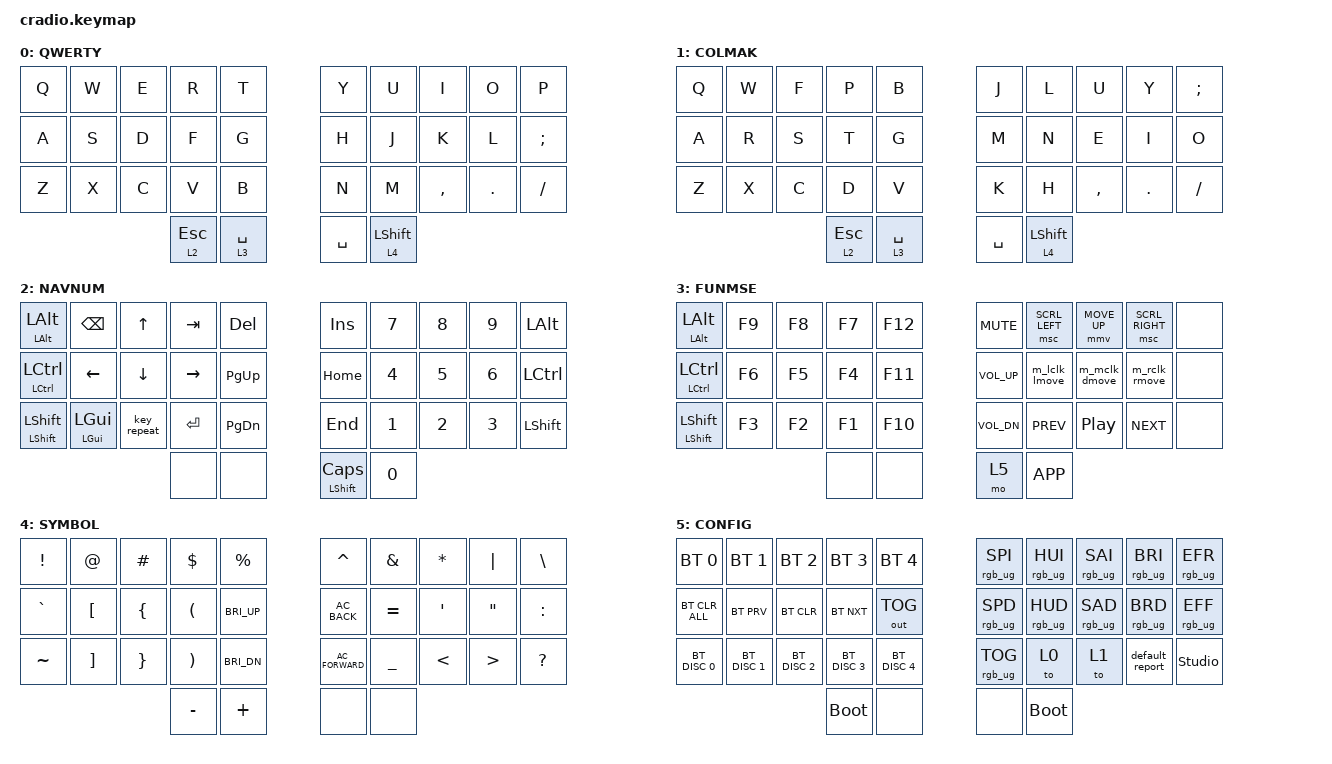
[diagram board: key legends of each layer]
/* spellchecker:disable */
#include <behaviors.dtsi>
#include <dt-bindings/zmk/bt.h>
#include <dt-bindings/zmk/keys.h>
#include <dt-bindings/zmk/outputs.h>
#include <dt-bindings/zmk/mouse.h>
#include <dt-bindings/zmk/rgb.h>

// #define ZMK_MOUSE_DEFAULT_MOVE_VAL 800  // 600
// #define ZMK_MOUSE_DEFAULT_SCRL_VAL 20    // 10

&lt {
    flavor = "hold-preferred";
};

&sk {
    release-after-ms = <4000>;
    quick-release;
    lazy;
};

/ {
    chosen {
        zmk,charmap = &charmap_us;
    };
    behaviors {
        // mmv {
        //     acceleration-exponent = <0>;      // 1
        //     time-to-max-speed-ms = <900>;    // 40
        //     delay-ms = <0>;                   // 0
        // };
        // msc {
        //     acceleration-exponent = <1>;      // 0      
        //     time-to-max-speed-ms = <400>;      // 500
        //     delay-ms = <0>;                   // 10
        // };
        // lclk_rclk: lclk_rclk    { bindings = <&mkp LCLK>, <&mkp RCLK>; compatible = "zmk,behavior-tap-dance"; #binding-cells = <0>; };
        lsk: layer_sticky_key      { compatible = "zmk,behavior-hold-tap";  #binding-cells = <2>; flavor = "hold-preferred"; tapping-term-ms = <200>; bindings = <&mo>, <&sk>; };
        lsl: layer_sticky_layer    { compatible = "zmk,behavior-hold-tap";  #binding-cells = <2>; flavor = "hold-preferred"; tapping-term-ms = <200>; bindings = <&mo>, <&sl>; };
        lmk: layer_mouse_key       { compatible = "zmk,behavior-hold-tap";  #binding-cells = <2>; flavor = "hold-preferred"; tapping-term-ms = <200>; bindings = <&mo>, <&mkp>; };
        lcw: layer_caps_word       { compatible = "zmk,behavior-hold-tap";  #binding-cells = <2>; flavor = "hold-preferred"; tapping-term-ms = <200>; bindings = <&mo>, <&caps_word>; };
        hsk: hold_sticky_key       { compatible = "zmk,behavior-hold-tap";  #binding-cells = <2>; flavor = "hold-preferred"; tapping-term-ms = <200>; bindings = <&kp>, <&sk>; };
        hsl: hold_sticky_layer     { compatible = "zmk,behavior-hold-tap";  #binding-cells = <2>; flavor = "hold-preferred"; tapping-term-ms = <200>; bindings = <&kp>, <&sl>; };
        hmk: hold_mouse_key        { compatible = "zmk,behavior-hold-tap";  #binding-cells = <2>; flavor = "hold-preferred"; tapping-term-ms = <200>; bindings = <&kp>, <&mkp>; };
        hcw: hold_caps_word        { compatible = "zmk,behavior-hold-tap";  #binding-cells = <2>; flavor = "hold-preferred"; tapping-term-ms = <200>; bindings = <&kp>, <&caps_word>; };
        m_lclk_lmove: m_lclk_lmove { compatible = "zmk,behavior-mod-morph"; #binding-cells = <0>; mods = <(MOD_LCTL)>; bindings = <&mkp LCLK>, <&mmv MOVE_LEFT>; };
        m_mclk_dmove: m_mclk_dmove { compatible = "zmk,behavior-mod-morph"; #binding-cells = <0>; mods = <(MOD_LCTL)>; bindings = <&mkp MCLK>, <&mmv MOVE_DOWN>; };
        m_rclk_rmove: m_rclk_rmove { compatible = "zmk,behavior-mod-morph"; #binding-cells = <0>; mods = <(MOD_LCTL)>; bindings = <&mkp RCLK>, <&mmv MOVE_RIGHT>; };
    };
    macros {
        win_sleep: win_sleep { wait-ms = <50>; tap-ms = <5>; compatible = "zmk,behavior-macro"; #binding-cells = <0>; bindings = <&kp LG(X) &kp U &kp S>; };
    };
    keymap {
        compatible = "zmk,keymap";
        layer0 {
            display-name = "QWERTY";
            bindings = <
                 &kp Q            &kp W            &kp E            &kp R            &kp T                                                               &kp Y            &kp U            &kp I            &kp O            &kp P
                 &kp A            &kp S            &kp D            &kp F            &kp G                                                               &kp H            &kp J            &kp K            &kp L            &kp SEMI
                 &kp Z            &kp X            &kp C            &kp V            &kp B                                                               &kp N            &kp M            &kp COMMA        &kp DOT          &kp FSLH
                                                                    &lt 2 ESC        &lt 3 SPACE                                                         &kp SPACE        &lsk 4 LSHFT >;

        };
        layer1 {
            display-name = "COLMAK";
            bindings = <
                 &kp Q            &kp W            &kp F            &kp P            &kp B                                                               &kp J            &kp L            &kp U            &kp Y            &kp SEMI
                 &kp A            &kp R            &kp S            &kp T            &kp G                                                               &kp M            &kp N            &kp E            &kp I            &kp O
                 &kp Z            &kp X            &kp C            &kp D            &kp V                                                               &kp K            &kp H            &kp COMMA        &kp DOT          &kp FSLH
                                                                    &lt 2 ESC        &lt 3 SPACE                                                         &kp SPACE        &lsk 4 LSHFT >;

        };
        layer2 {
            display-name = "NAVNUM";
            bindings = <
                 &hsk LALT LALT   &kp BSPC         &kp UP           &kp TAB          &kp DEL                                                             &kp INS          &kp N7           &kp N8           &kp N9           &kp LALT
                 &hsk LCTRL LCTRL &kp LEFT         &kp DOWN         &kp RIGHT        &kp PG_UP                                                           &kp HOME         &kp N4           &kp N5           &kp N6           &kp LCTRL
                 &hsk LSHFT LSHFT &hsk LGUI LGUI   &key_repeat      &kp ENTER        &kp PG_DN                                                           &kp END          &kp N1           &kp N2           &kp N3           &kp LSHFT
                                                                    &none            &none                                                               &hcw LSHFT CAPS  &kp N0 >;

        };
        layer3 {
            display-name = "FUNMSE";
            bindings = <
                 &hsk LALT LALT   &kp F9           &kp F8           &kp F7           &kp F12                                                             &kp C_MUTE       &msc SCRL_LEFT   &mmv MOVE_UP     &msc SCRL_RIGHT  &none
                 &hsk LCTRL LCTRL &kp F6           &kp F5           &kp F4           &kp F11                                                             &kp C_VOL_UP     &m_lclk_lmove    &m_mclk_dmove    &m_rclk_rmove    &none
                 &hsk LSHFT LSHFT &kp F3           &kp F2           &kp F1           &kp F10                                                             &kp C_VOL_DN     &kp C_PREV       &kp C_PLAY_PAUSE &kp C_NEXT       &none
                                                                    &none            &none                                                               &mo 5            &kp K_APP >;

        };
        layer4 {
            display-name = "SYMBOL";
            bindings = <
                 &kp EXCL         &kp AT           &kp POUND        &kp DLLR         &kp PRCNT                                                           &kp CARET        &kp AMPS         &kp ASTRK        &kp PIPE         &kp BSLH
                 &kp GRAVE        &kp LBKT         &kp LBRC         &kp LPAR         &kp C_BRI_UP                                                        &kp C_AC_BACK    &kp EQUAL        &kp SQT          &kp DQT          &kp COLON
                 &kp TILDE        &kp RBKT         &kp RBRC         &kp RPAR         &kp C_BRI_DN                                                        &kp C_AC_FORWARD &kp UNDER        &kp LT           &kp GT           &kp QMARK
                                                                    &kp MINUS        &kp PLUS                                                            &none            &none >;

        };
        layer5 {
            display-name = "CONFIG";
            bindings = <
                 &bt BT_SEL 0     &bt BT_SEL 1     &bt BT_SEL 2     &bt BT_SEL 3     &bt BT_SEL 4                                                        &rgb_ug RGB_SPI  &rgb_ug RGB_HUI  &rgb_ug RGB_SAI  &rgb_ug RGB_BRI  &rgb_ug RGB_EFR 
                 &bt BT_CLR_ALL   &bt BT_PRV       &bt BT_CLR       &bt BT_NXT       &out OUT_TOG                                                        &rgb_ug RGB_SPD  &rgb_ug RGB_HUD  &rgb_ug RGB_SAD  &rgb_ug RGB_BRD  &rgb_ug RGB_EFF 
                 &bt BT_DISC 0    &bt BT_DISC 1    &bt BT_DISC 2    &bt BT_DISC 3    &bt BT_DISC 4                                                       &rgb_ug RGB_TOG  &to 0            &to 1            &default_report  &studio_unlock
                                                                    &bootloader      &none                                                               &none            &bootloader >;

        };
    };
};
